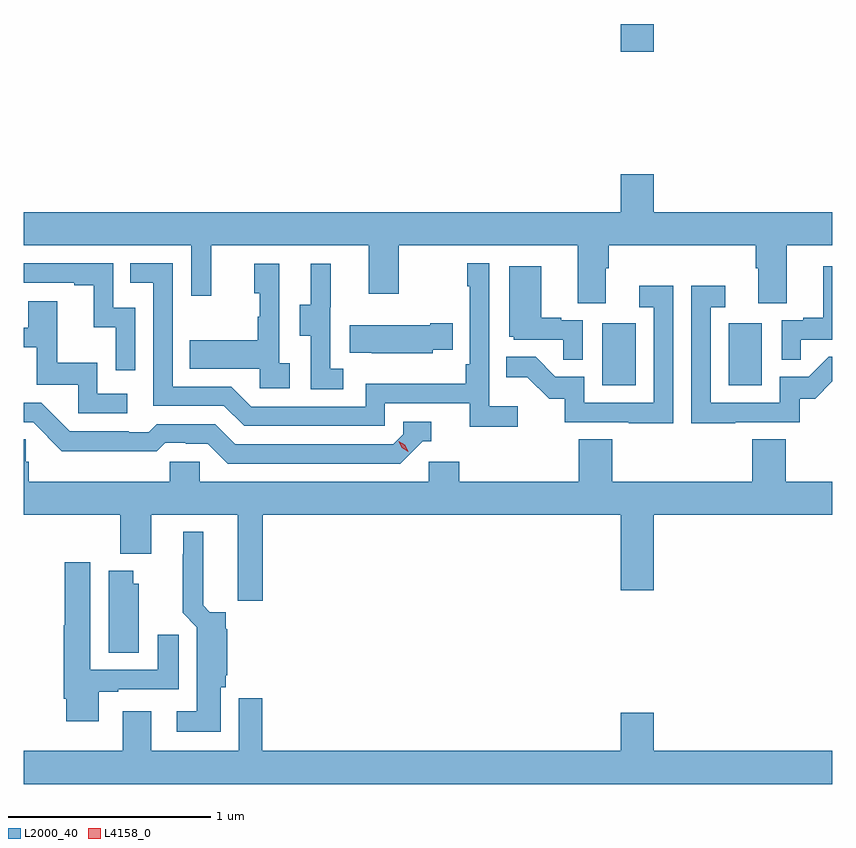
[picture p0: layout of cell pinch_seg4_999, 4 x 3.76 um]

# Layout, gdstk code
import gdstk
lib = gdstk.Library(unit=1e-6, precision=1e-09)
def R(c, l, rs):  # rectangles x0, y0, x1, y1
    for r in rs: c.add(gdstk.rectangle(r[:2], r[2:], *l))
def P(c, l, *ps):  # polygons
    for p in ps: c.add(gdstk.Polygon(p, *l))
L2000_40 = (2000, 40)
L4158_0 = (4158, 0)

pinch_seg4_999 = lib.new_cell('pinch_seg4_999')
R(pinch_seg4_999, L2000_40, [(824.258,770.82,824.422,771.127), (824.882,770.82,825.046,771.127), (824.348,772.47,824.512,772.607)])
P(pinch_seg4_999, L2000_40, [(824.275,771.4),(824.288,771.4),(824.288,771.512),(825.017,771.512),(825.017,771.4),(825.029,771.4),(825.029,771.226),(825.169,771.226),(825.169,771.512),(825.395,771.512),(825.395,771.676),(824.512,771.676),(824.512,771.865),(824.348,771.865),(824.348,771.676),(821.395,771.676),(821.395,771.512),(822.225,771.512),(822.225,771.264),(822.323,771.264),(822.323,771.512),(823.103,771.512),(823.103,771.273),(823.251,771.273),(823.251,771.512),(824.135,771.512),(824.135,771.226),(824.275,771.226)],
  [(823.84,770.716),(823.698,770.716),(823.698,771.424),(823.59,771.424),(823.59,771.311),(823.602,771.311),(823.602,770.923),(823.582,770.923),(823.582,770.827),(823.086,770.827),(823.086,770.715),(822.522,770.715),(822.423,770.814),(822.132,770.814),(822.132,771.423),(821.923,771.423),(821.923,771.327),(822.036,771.327),(822.036,770.718),(822.386,770.718),(822.485,770.619),(823.182,770.619),(823.182,770.73),(823.601,770.73),(823.601,770.614),(823.84,770.614)],
  [(821.946,771.204),(821.838,771.204),(821.838,771.423),(821.395,771.423),(821.395,771.327),(821.645,771.327),(821.645,771.315),(821.741,771.315),(821.741,771.107),(821.85,771.107),(821.85,770.895),(821.946,770.895)],
  [(822.712,770.93),(822.66,770.93),(822.66,771.421),(822.536,771.421),(822.536,771.276),(822.562,771.276),(822.562,771.158),(822.552,771.158),(822.552,771.043),(822.217,771.043),(822.217,770.903),(822.564,770.903),(822.564,770.805),(822.712,770.805)],
  [(822.976,770.903),(822.912,770.903),(822.912,771.207),(822.914,771.207),(822.914,771.421),(822.815,771.421),(822.815,771.219),(822.761,771.219),(822.761,771.064),(822.816,771.064),(822.816,770.8),(822.976,770.8)],
  [(824.16,771.141),(824.054,771.141),(824.054,771.154),(823.954,771.154),(823.954,771.409),(823.796,771.409),(823.796,771.06),(823.818,771.06),(823.818,771.045),(824.065,771.045),(824.065,770.947),(824.16,770.947)],
  [(825.239,771.045),(825.395,771.045),(825.395,771.409),(825.35,771.409),(825.35,771.154),(825.251,771.154),(825.251,771.141),(825.144,771.141),(825.144,770.947),(825.239,770.947)],
  [(824.607,771.313),(824.439,771.313),(824.439,771.207),(824.511,771.207),(824.511,770.733),(824.169,770.733),(824.169,770.862),(824.025,770.862),(823.927,770.96),(823.783,770.96),(823.783,770.861),(823.887,770.861),(823.994,770.754),(824.071,770.754),(824.071,770.637),(824.389,770.637),(824.389,770.632),(824.607,770.632)],
  [(824.915,770.637),(825.234,770.637),(825.234,770.754),(825.31,770.754),(825.395,770.839),(825.395,770.96),(825.377,770.96),(825.279,770.862),(825.135,770.862),(825.135,770.733),(824.793,770.733),(824.793,771.207),(824.866,771.207),(824.866,771.313),(824.697,771.313),(824.697,770.632),(824.915,770.632)],
  [(821.908,770.778),(821.76,770.778),(821.76,770.932),(821.561,770.932),(821.561,771.235),(821.417,771.235),(821.417,771.105),(821.395,771.105),(821.395,771.009),(821.459,771.009),(821.459,770.823),(821.664,770.823),(821.664,770.682),(821.908,770.682)],
  [(823.419,770.996),(823.517,770.996),(823.517,771.126),(823.406,771.126),(823.406,771.118),(823.009,771.118),(823.009,770.981),(823.117,770.981),(823.117,770.978),(823.419,770.978)],
  [(823.368,770.544),(823.411,770.544),(823.411,770.64),(823.272,770.64),(823.272,770.577),(823.224,770.529),(822.441,770.529),(822.342,770.628),(822.053,770.628),(822.014,770.589),(821.915,770.589),(821.915,770.592),(821.622,770.592),(821.481,770.733),(821.395,770.733),(821.395,770.637),(821.442,770.637),(821.584,770.495),(821.82,770.495),(821.82,770.493),(822.053,770.493),(822.095,770.535),(822.198,770.535),(822.198,770.532),(822.305,770.532),(822.404,770.433),(823.257,770.433)],
  [(822.578,770.18),(824.348,770.18),(824.348,769.806),(824.512,769.806),(824.512,770.18),(825.395,770.18),(825.395,770.344),(825.164,770.344),(825.164,770.552),(824.999,770.552),(824.999,770.344),(824.306,770.344),(824.306,770.552),(824.141,770.552),(824.141,770.344),(823.55,770.344),(823.55,770.442),(823.398,770.442),(823.398,770.344),(822.267,770.344),(822.267,770.442),(822.117,770.442),(822.117,770.344),(821.42,770.344),(821.42,770.442),(821.405,770.442),(821.405,770.552),(821.395,770.552),(821.395,770.18),(821.873,770.18),(821.873,769.988),(822.025,769.988),(822.025,770.18),(822.455,770.18),(822.455,769.755),(822.578,769.755)],
  [(822.37,769.326),(822.395,769.326),(822.395,769.386),(822.401,769.386),(822.401,769.613),(822.395,769.619),(822.395,769.698),(822.316,769.698),(822.283,769.732),(822.283,770.095),(822.185,770.095),(822.185,769.985),(822.181,769.985),(822.181,769.694),(822.251,769.624),(822.251,769.207),(822.153,769.207),(822.153,769.106),(822.37,769.106)],
  [(821.767,769.305),(821.863,769.305),(821.863,769.317),(822.163,769.317),(822.163,769.585),(822.059,769.585),(822.059,769.413),(821.725,769.413),(821.725,769.945),(821.599,769.945),(821.599,769.632),(821.594,769.632),(821.594,769.27),(821.606,769.27),(821.606,769.158),(821.767,769.158)],
  [(821.965,769.839),(821.938,769.839),(821.938,769.903),(821.816,769.903),(821.816,769.498),(821.965,769.498)],
  [(825.395,769.012),(824.512,769.012),(824.512,769.201),(824.348,769.201),(824.348,769.012),(822.575,769.012),(822.575,769.273),(822.459,769.273),(822.459,769.012),(822.025,769.012),(822.025,769.207),(821.885,769.207),(821.885,769.012),(821.395,769.012),(821.395,768.848),(825.395,768.848)])
P(pinch_seg4_999, L4158_0, [(823.297,770.492),(823.266,770.512),(823.25,770.544),(823.25,770.544),(823.25,770.544),(823.281,770.525),(823.297,770.493),(823.297,770.492)])

lib.write_gds('pinch_seg4_999.gds')
